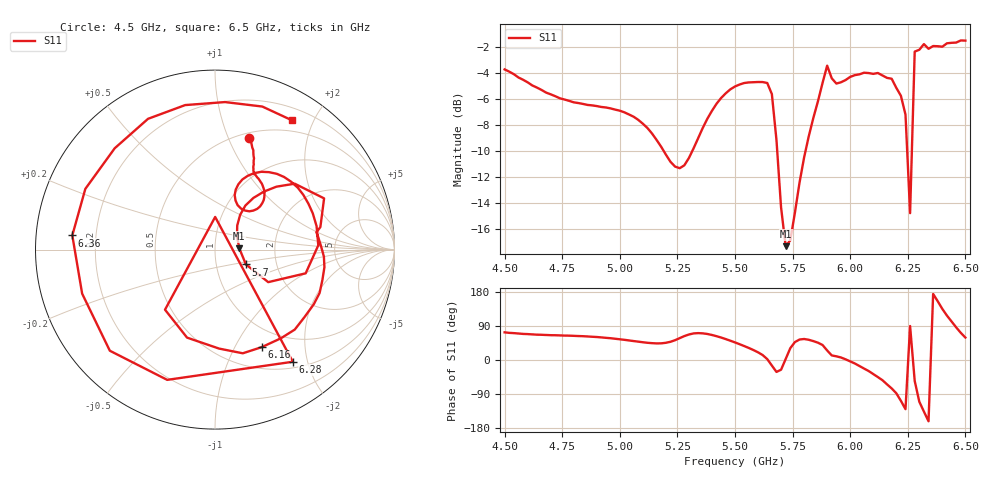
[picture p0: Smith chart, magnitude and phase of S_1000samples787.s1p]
! TOUCHSTONE file generated by CST MICROWAVE STUDIO
! Date and time: Sat Oct 29 09:26:09 2022
! Project name: L.cst
! Parameters = {Di=1.27; Epsilon_r=1.56; InnerDiameter=1.27; Length=2; Lf=10; Lg=60; OuterConductorThickness=0.2921; OuterDiameter=3.6; Wf=3; Wp=41.2; de=1.5; df=6.8; g=0.8; gx=0.636917; gy=2.91733; h=2.34; hf=1.524; px=11.6217; py=14.9632; w=9.7; wx=10.9848; wy=12.0459}
! Header version: 2018
! Port assignment regex: !\s*Touchstone port\s*([0-9]+)\s*=\s*(CST MWS port|CST DS port)\s*([0-9]+|Zmin|Zmax)\s*\(\"(.*)\"\)(\s*mode\s*([0-9]+))?.*
! Touchstone port assignment:
! Touchstone port 1 = CST MWS port 1 ("")
# GHz S DB R 50
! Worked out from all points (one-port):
!   101 points, 4.5 GHz to 6.5 GHz, reference 50 ohm
!   lowest |S11| = -17.3 dB at 5.72 GHz (marker M1), VSWR 1.31, Z = 65.7 + j0.839 ohm
!   |S11| at or under -10 dB: 5.19 GHz to 5.315 GHz (125.4 MHz wide, 2.39 % of centre); 5.683 GHz to 5.806 GHz (123.2 MHz wide, 2.14 % of centre); 6.247333 GHz to 6.267731 GHz (20.4 MHz wide, 0.326 % of centre)
!   S11 on the Smith chart (normalised r, x): 4.5 GHz: 0.55, +1.19; 5.7 GHz: 1.39, -0.24; 6.16 GHz: 0.76, -1.29; 6.28 GHz: 0.59, -1.76; 6.36 GHz: 0.11, +0.05; 6.5 GHz: 0.35, +1.71
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4.5  -3.75 73.0
4.76  -6.06 64.4
5  -6.92 54.6
5.26  -11.35 57.8
5.36  -8.25 70.3
5.5  -5.06 46.4
5.6  -4.72 20.3
5.66  -5.64 -14.7
5.68  -9.18 -31.4
5.7  -14.37 -25.6
5.72  -17.34 2.6
5.76  -14.77 47.3
5.88  -4.79 39.6
5.9  -3.46 25.2
5.92  -4.43 12.1
6  -4.32 -3.7
6.08  -4.03 -29.1
6.16  -4.40 -64.4
6.22  -5.77 -107.6
6.24  -7.22 -129.7
6.26  -14.80 89.7
6.28  -2.38 -55.3
6.3  -2.24 -110.1
6.32  -1.80 -136.1
6.36  -1.95 174.3
6.42  -1.74 117.1
6.46  -1.68 86.1
6.5  -1.53 59.2
